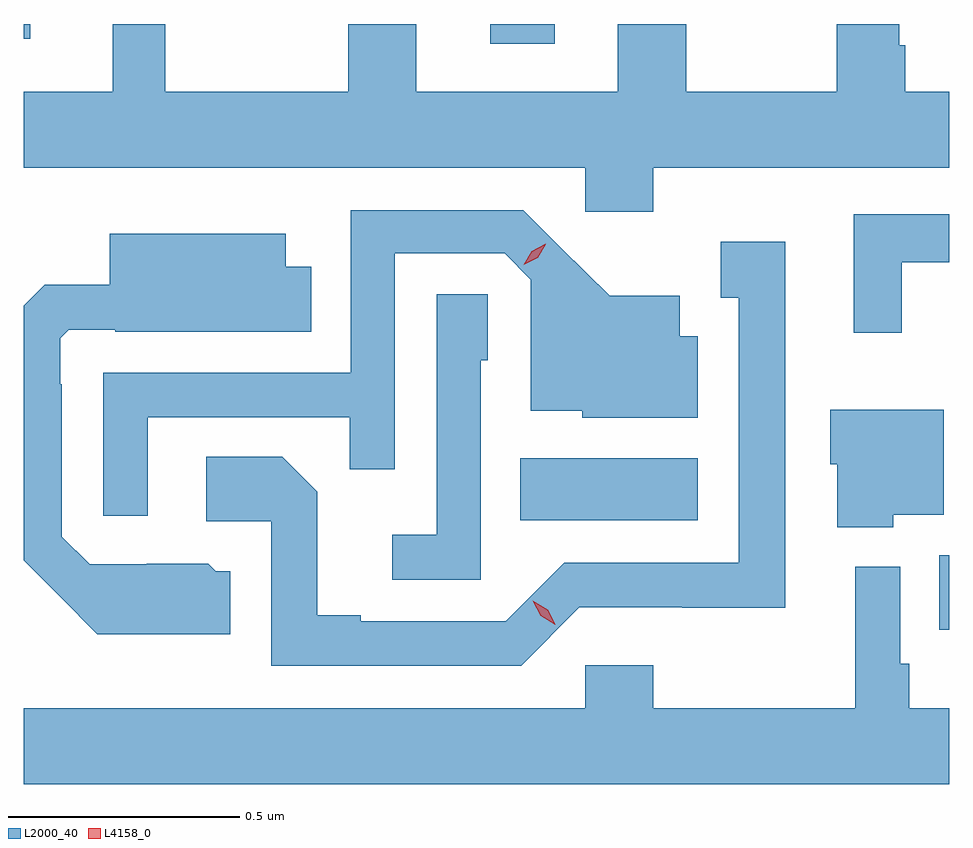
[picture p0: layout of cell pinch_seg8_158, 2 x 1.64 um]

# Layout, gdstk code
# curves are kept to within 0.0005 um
import gdstk
lib = gdstk.Library(unit=1e-6, precision=1e-09)
def R(c, l, rs):  # rectangles x0, y0, x1, y1
    for r in rs: c.add(gdstk.rectangle(r[:2], r[2:], *l))
def P(c, l, *ps):  # polygons
    for p in ps: c.add(gdstk.Polygon(p, *l))
L2000_40 = (2000, 40)
L4158_0 = (4158, 0)

pinch_seg8_158 = lib.new_cell('pinch_seg8_158')
R(pinch_seg8_158, L2000_40, [(702.154,1142.141,702.175,1142.302), (701.248,1142.378,701.632,1142.512), (701.183,1143.408,701.323,1143.451), (700.175,1143.419,700.189,1143.451)])
P(pinch_seg8_158, L2000_40, [(701.535,1143.14),(702.175,1143.14),(702.175,1143.304),(702.08,1143.304),(702.08,1143.405),(702.067,1143.405),(702.067,1143.451),(701.932,1143.451),(701.932,1143.304),(701.607,1143.304),(701.607,1143.451),(701.459,1143.451),(701.459,1143.304),(701.023,1143.304),(701.023,1143.451),(700.876,1143.451),(700.876,1143.304),(700.481,1143.304),(700.481,1143.451),(700.367,1143.451),(700.367,1143.304),(700.175,1143.304),(700.175,1143.14),(701.388,1143.14),(701.388,1143.045),(701.535,1143.045)],
  [(700.443,1142.601),(700.879,1142.601),(700.879,1142.488),(700.977,1142.488),(700.977,1142.955),(701.214,1142.955),(701.271,1142.898),(701.271,1142.615),(701.382,1142.615),(701.382,1142.6),(701.632,1142.6),(701.632,1142.776),(701.593,1142.776),(701.593,1142.863),(701.441,1142.863),(701.254,1143.048),(700.881,1143.048),(700.881,1142.697),(700.347,1142.697),(700.347,1142.388),(700.443,1142.388)],
  [(702.073,1142.936),(702.175,1142.936),(702.175,1143.04),(701.969,1143.04),(701.969,1142.784),(702.073,1142.784)],
  [(700.621,1142.268),(700.59,1142.268),(700.574,1142.284),(700.44,1142.284),(700.44,1142.283),(700.317,1142.283),(700.257,1142.343),(700.257,1142.672),(700.254,1142.672),(700.254,1142.772),(700.272,1142.79),(700.372,1142.79),(700.372,1142.786),(700.796,1142.786),(700.796,1142.926),(700.741,1142.926),(700.741,1142.998),(700.361,1142.998),(700.361,1142.887),(700.22,1142.887),(700.175,1142.842),(700.175,1142.292),(700.333,1142.132),(700.621,1142.132)],
  [(701.376,1142.19),(701.598,1142.19),(701.598,1142.189),(701.821,1142.189),(701.821,1142.98),(701.681,1142.98),(701.681,1142.859),(701.72,1142.859),(701.72,1142.286),(701.343,1142.286),(701.217,1142.16),(700.903,1142.16),(700.903,1142.173),(700.809,1142.173),(700.809,1142.44),(700.733,1142.516),(700.569,1142.516),(700.569,1142.376),(700.71,1142.376),(700.71,1142.064),(701.25,1142.064)],
  [(701.163,1142.724),(701.178,1142.724),(701.178,1142.867),(701.067,1142.867),(701.067,1142.347),(700.971,1142.347),(700.971,1142.25),(701.163,1142.25)],
  [(702.054,1142.39),(702.163,1142.39),(702.163,1142.617),(701.918,1142.617),(701.918,1142.499),(701.933,1142.499),(701.933,1142.363),(702.054,1142.363)],
  [(702.175,1141.972),(702.089,1141.972),(702.089,1142.068),(702.069,1142.068),(702.069,1142.278),(701.972,1142.278),(701.972,1141.972),(701.535,1141.972),(701.535,1142.065),(701.388,1142.065),(701.388,1141.972),(700.175,1141.972),(700.175,1141.808),(702.175,1141.808)])
P(pinch_seg8_158, L4158_0, [(701.255,1142.93),(701.255,1142.93),(701.273,1142.96),(701.303,1142.976),(701.303,1142.976),(701.303,1142.975),(701.286,1142.946),(701.256,1142.93)],
  [(701.324,1142.152),(701.292,1142.172),(701.275,1142.204),(701.275,1142.204),(701.275,1142.204),(701.307,1142.185),(701.324,1142.153),(701.324,1142.152)])

lib.write_gds('pinch_seg8_158.gds')
